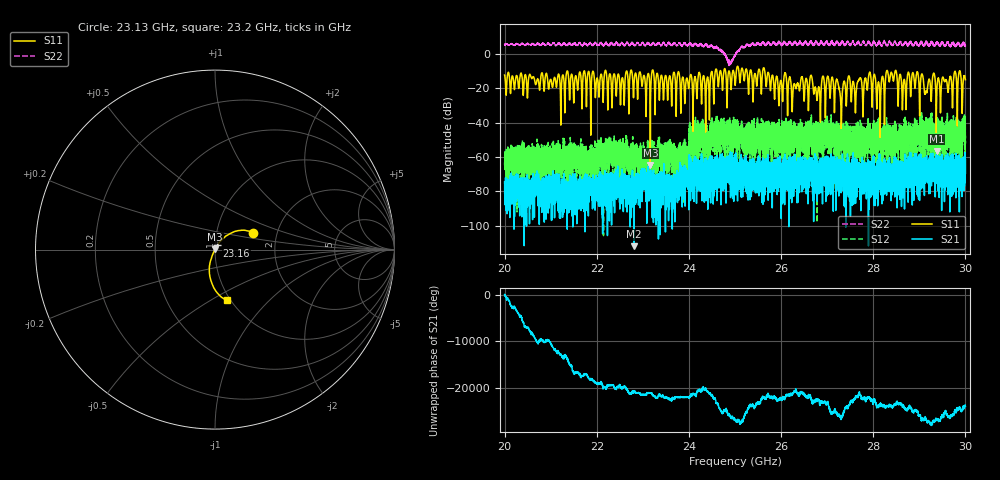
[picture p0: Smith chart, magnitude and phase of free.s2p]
#  HZ  S  RI  R  50.00
! Rohde & Schwarz ZVA40 4Ports - Version 3.90 - 1145.1110k42 SN: 100403
! Date: 2023-08-22 06:20:48
! Measurements: S11 S21 S12 S22
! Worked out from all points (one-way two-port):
!   8001 points, 20 GHz to 30 GHz, reference 50 ohm
!   highest |S21| = -56.50 dB at 29.38 GHz (marker M1); lowest = -112.0 dB at 22.81 GHz (marker M2)
!   lowest |S11| = -64.7 dB at 23.16 GHz (marker M3), VSWR 1.00, Z = 50 + j0.0562 ohm
!   |S11| at or under -10 dB: start of sweep to 21.36 GHz; 25.65 GHz to 28.29 GHz (2.644 GHz wide, 9.81 % of centre); 28.5 GHz to 29.87 GHz (1.378 GHz wide, 4.72 % of centre) (the widest 3 of 22)
!   |S22| runs from -6.8 to 7.8 dB; largest |S21 - S12| = 0.019
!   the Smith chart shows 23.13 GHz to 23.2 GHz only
!   S11 on the Smith chart (normalised r, x): 23.13 GHz: 1.51, +0.30; 23.16 GHz: 1.02, +0.05; 23.2 GHz: 0.96, -0.59
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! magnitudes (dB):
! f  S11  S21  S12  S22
! 20 GHz  -12.4  -74.5  -65.0  5.1
! 21.67 GHz  -18.4  -86.3  -57.5  5.0
! 22.81 GHz  -18.0  -112.0  -53.2  5.1
! 23.13 GHz  -12.7  -78.9  -62.3  5.9
! 23.16 GHz  -31.7  -76.6  -56.2  4.9
! 23.16 GHz  -64.7  -75.4  -59.1  4.9
! 23.2 GHz  -10.8  -78.0  -57.0  5.7
! 23.33 GHz  -14.4  -75.4  -53.2  6.4
! 23.73 GHz  -18.6  -72.1  -76.9  5.0
! 24.15 GHz  -15.2  -67.4  -47.9  5.7
! 24.4 GHz  -13.5  -63.1  -55.9  4.6
! 25 GHz  -18.0  -58.6  -54.7  -1.3
! 26.67 GHz  -13.6  -66.3  -42.4  6.4
! 26.82 GHz  -19.6  -66.5  -55.5  5.3
! 27.22 GHz  -15.7  -61.3  -43.8  7.0
! 27.3 GHz  -29.0  -68.9  -54.6  5.9
! 27.92 GHz  -11.0  -72.0  -46.5  6.2
! 28.11 GHz  -16.5  -62.5  -53.6  6.8
! 28.33 GHz  -13.7  -69.1  -51.2  6.3
! 28.67 GHz  -14.9  -76.8  -38.0  5.7
! 29.38 GHz  -22.8  -56.5  -48.8  6.6
! 30 GHz  -15.1  -69.6  -47.6  4.5
